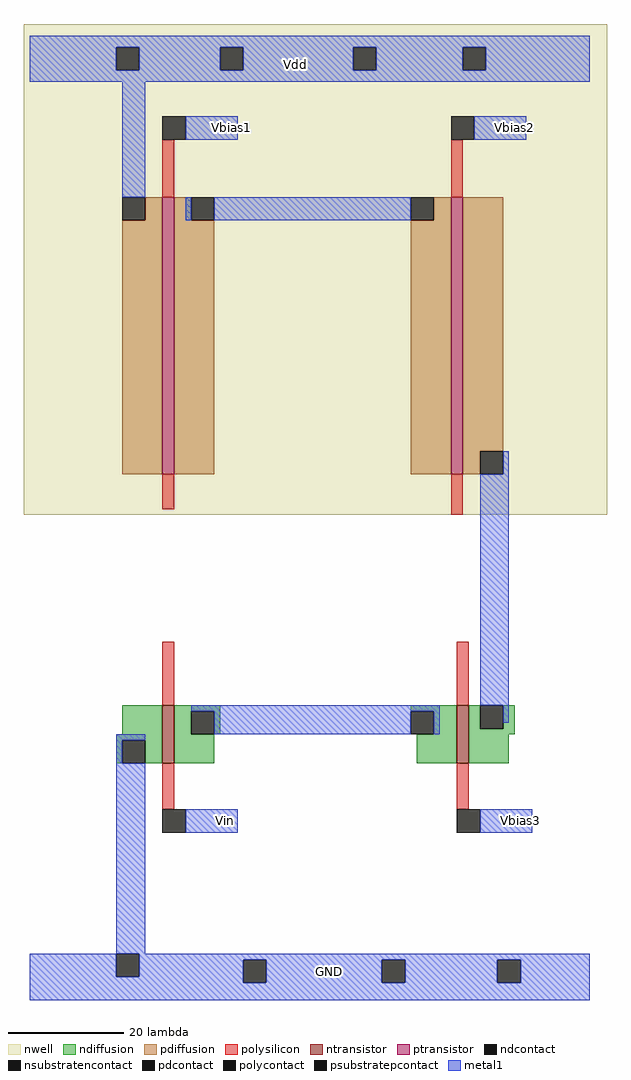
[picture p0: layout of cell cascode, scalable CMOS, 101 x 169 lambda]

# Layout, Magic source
magic
tech scmos
<< nwell >>
rect -37 -22 64 63
<< ntransistor >>
rect -13 -65 -11 -55
rect 38 -65 40 -55
<< ptransistor >>
rect -13 -15 -11 33
rect 37 -15 39 33
<< ndiffusion >>
rect -20 -60 -13 -55
rect -21 -61 -13 -60
rect -21 -65 -20 -61
rect -16 -65 -13 -61
rect -11 -56 -3 -55
rect -11 -60 -8 -56
rect -4 -60 -3 -56
rect 30 -56 38 -55
rect 34 -60 38 -56
rect -11 -65 -4 -60
rect 31 -65 38 -60
rect 40 -59 42 -55
rect 46 -59 48 -55
rect 40 -60 48 -59
rect 40 -65 47 -60
<< pdiffusion >>
rect -16 29 -13 33
rect -20 -15 -13 29
rect -11 29 -8 33
rect -11 -15 -4 29
rect 34 29 37 33
rect 30 -15 37 29
rect 39 -11 46 33
rect 39 -15 42 -11
<< ndcontact >>
rect -20 -65 -16 -61
rect -8 -60 -4 -56
rect 30 -60 34 -56
rect 42 -59 46 -55
<< pdcontact >>
rect -20 29 -16 33
rect -8 29 -4 33
rect 30 29 34 33
rect 42 -15 46 -11
<< psubstratepcontact >>
rect -21 -102 -17 -98
rect 1 -103 5 -99
rect 25 -103 29 -99
rect 45 -103 49 -99
<< nsubstratencontact >>
rect -21 55 -17 59
rect -3 55 1 59
rect 20 55 24 59
rect 39 55 43 59
<< polysilicon >>
rect -13 33 -11 43
rect 37 33 39 43
rect -13 -21 -11 -15
rect 37 -22 39 -15
rect -13 -55 -11 -44
rect 38 -55 40 -44
rect -13 -73 -11 -65
rect 38 -73 40 -65
<< polycontact >>
rect -13 43 -9 47
rect 37 43 41 47
rect -13 -77 -9 -73
rect 38 -77 42 -73
<< metal1 >>
rect -36 59 61 61
rect -36 55 -21 59
rect -17 55 -3 59
rect 1 55 20 59
rect 24 55 39 59
rect 43 55 61 59
rect -36 53 61 55
rect -20 33 -16 53
rect -9 43 0 47
rect 41 43 50 47
rect -9 29 -8 33
rect -4 29 30 33
rect 46 -15 47 -11
rect 42 -55 47 -15
rect -8 -56 35 -55
rect -4 -60 30 -56
rect 34 -60 35 -56
rect 46 -58 47 -55
rect -21 -61 -16 -60
rect -21 -65 -20 -61
rect -21 -98 -16 -65
rect -9 -77 0 -73
rect 42 -77 51 -73
rect -36 -102 -21 -98
rect -17 -99 61 -98
rect -17 -102 1 -99
rect -36 -103 1 -102
rect 5 -103 25 -99
rect 29 -103 45 -99
rect 49 -103 61 -99
rect -36 -106 61 -103
<< labels >>
flabel metal1 8 54 12 58 0 FreeSans 18 0 0 0 Vdd
flabel nwell -3 43 1 47 0 FreeSans 18 0 0 0 Vbias1
flabel metal1 46 43 50 47 0 FreeSans 18 0 0 0 Vbias2
flabel metal1 -4 -77 0 -73 0 FreeSans 18 0 0 0 Vin
flabel metal1 47 -77 51 -73 0 FreeSans 18 0 0 0 Vbias3
flabel metal1 14 -103 18 -99 0 FreeSans 18 0 0 0 GND
<< end >>
